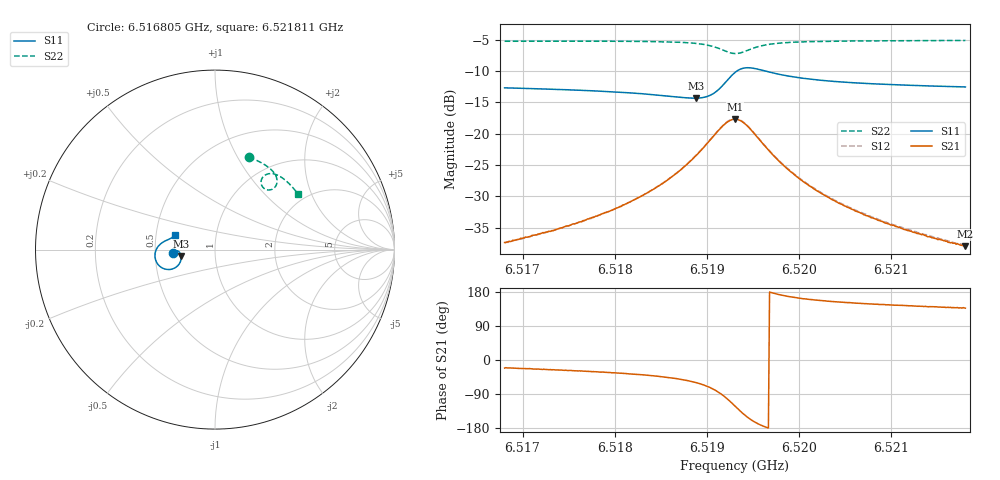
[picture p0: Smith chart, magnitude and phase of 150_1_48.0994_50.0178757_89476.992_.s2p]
#  HZ  S  RI  R  50.00
! Rohde & Schwarz Vector Network Analyzer
! Rohde-Schwarz,ZNB20-2Port,1311601062101988,3.16
! Created: UTC 12/23/2023, 3:49:39 AM
! freq[Hz]  re:S11  im:S11  re:S21  im:S21  re:S12  im:S12  re:S22  im:S22
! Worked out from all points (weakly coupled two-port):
!   401 points, 6.516805 GHz to 6.521811 GHz, reference 50 ohm
!   highest |S21| = -17.68 dB at 6.519308 GHz (marker M1); lowest = -38.0 dB at 6.521811 GHz (marker M2)
!   lowest |S11| = -14.3 dB at 6.518883 GHz (marker M3), VSWR 1.48, Z = 34 - j2.53 ohm
!   |S11| at or under -10 dB: start of sweep to 6.519327 GHz; 6.519643 GHz to end of sweep
!   |S22| runs from -7.2 to -5.1 dB; largest |S21 - S12| = 0.0041
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6.5168053e9  -0.2317 -0.0208  0.0126 -0.0049  0.0127 -0.00436  0.1894 0.5143
6.5173184e9  -0.2262 -0.013  0.0151 -0.00735  0.0154 -0.00674  0.2275 0.499
6.5176438e9  -0.222 -0.00903  0.0173 -0.00959  0.0177 -0.00914  0.2516 0.4873
6.5180568e9  -0.2144 -0.0063  0.0214 -0.0148  0.022 -0.0143  0.2825 0.4691
6.5182945e9  -0.2087 -0.00692  0.0247 -0.02  0.0254 -0.0193  0.3007 0.4561
6.5184822e9  -0.2029 -0.00985  0.0279 -0.0263  0.0289 -0.0254  0.3152 0.4434
6.5187075e9  -0.1949 -0.0191  0.0323 -0.0391  0.0337 -0.0383  0.3325 0.423
6.5188827e9  -0.189 -0.0358  0.0338 -0.0574  0.0357 -0.0566  0.3436 0.3996
6.5189953e9  -0.1894 -0.0551  0.0301 -0.0761  0.0326 -0.0755  0.3459 0.3784
6.5190829e9  -0.1973 -0.0763  0.0196 -0.0953  0.0228 -0.0953  0.3409 0.3585
6.5192081e9  -0.2358 -0.1073  -0.0194 -0.1197  -0.0161 -0.1211  0.3119 0.3338
6.5193082e9  -0.2906 -0.1039  -0.0684 -0.1112  -0.0657 -0.1141  0.2745 0.3399
6.5193583e9  -0.3144 -0.0863  -0.0878 -0.0932  -0.0858 -0.0966  0.2614 0.355
6.5194208e9  -0.3312 -0.0564  -0.0994 -0.0656  -0.0982 -0.0691  0.2565 0.3776
6.519521e9  -0.332 -0.0129  -0.0955 -0.0283  -0.0953 -0.0313  0.2682 0.406
6.5196336e9  -0.3169 0.0174  -0.0794 -0.00512  -0.08 -0.00743  0.2906 0.4205
6.5198714e9  -0.2871 0.0432  -0.0517 0.0107  -0.0525 0.00917  0.3295 0.4215
6.5201467e9  -0.2664 0.0534  -0.0348 0.0131  -0.0353 0.0124  0.3599 0.409
6.5205096e9  -0.2507 0.0604  -0.0232 0.0124  -0.0239 0.0118  0.3892 0.3888
6.5209852e9  -0.2378 0.0675  -0.0156 0.0108  -0.0161 0.0104  0.4195 0.3608
6.5214232e9  -0.2293 0.0736  -0.0116 0.00949  -0.0122 0.00931  0.443 0.3345
6.5218111e9  -0.2229 0.079  -0.00921 0.00864  -0.00966 0.00851  0.4616 0.3104
